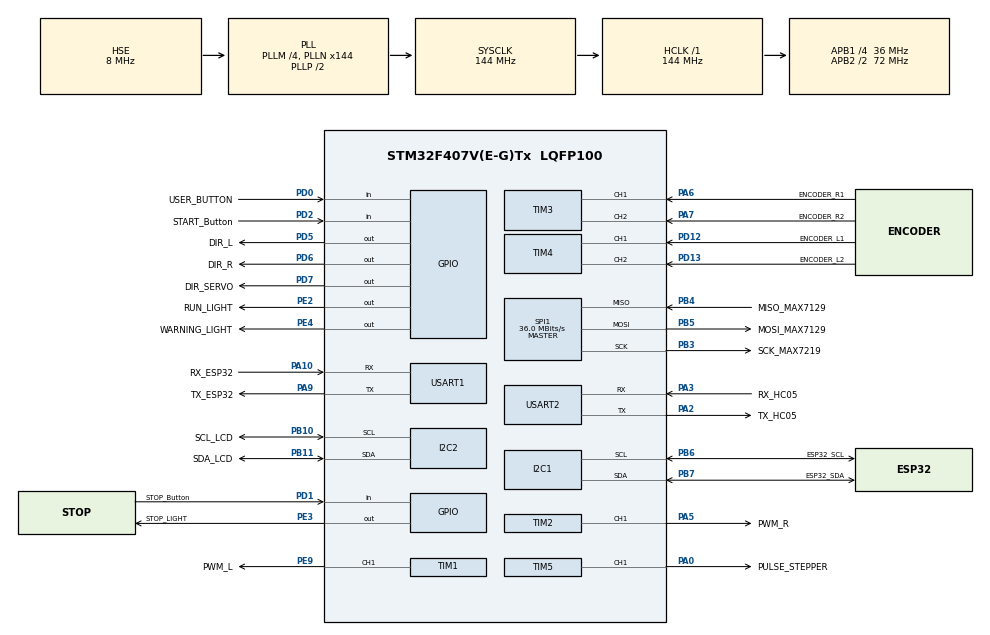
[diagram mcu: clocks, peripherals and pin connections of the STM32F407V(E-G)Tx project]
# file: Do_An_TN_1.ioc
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Mcu.Family=STM32F4
Mcu.Name=STM32F407V(E-G)Tx
Mcu.Package=LQFP100
NVIC.I2C1_EV_IRQn=true\:0\:0\:false\:false\:true\:true\:true\:true
NVIC.PriorityGroup=NVIC_PRIORITYGROUP_4
NVIC.TIM1_BRK_TIM9_IRQn=true\:0\:0\:false\:false\:true\:true\:true\:true
NVIC.TIM2_IRQn=true\:0\:0\:false\:false\:true\:true\:true\:true
NVIC.TIM3_IRQn=true\:0\:0\:false\:false\:true\:true\:true\:true
NVIC.TIM4_IRQn=true\:0\:0\:false\:false\:true\:true\:true\:true
NVIC.TIM5_IRQn=true\:0\:0\:false\:false\:true\:true\:true\:true
NVIC.TIM8_BRK_TIM12_IRQn=true\:0\:0\:false\:false\:true\:true\:true\:true
NVIC.TIM8_UP_TIM13_IRQn=true\:0\:0\:false\:false\:true\:true\:true\:true
PA0-WKUP.GPIO_Label=PULSE_STEPPER
PA0-WKUP.Signal=S_TIM5_CH1
PA10.GPIO_Label=RX_ESP32
PA10.Mode=Asynchronous
PA10.Signal=USART1_RX
PA13.Mode=Serial_Wire
PA13.Signal=SYS_JTMS-SWDIO
PA14.Mode=Serial_Wire
PA14.Signal=SYS_JTCK-SWCLK
PA2.GPIO_Label=TX_HC05
PA2.Mode=Asynchronous
PA2.Signal=USART2_TX
PA3.GPIO_Label=RX_HC05
PA3.Mode=Asynchronous
PA3.Signal=USART2_RX
PA5.GPIO_Label=PWM_R
PA5.Signal=S_TIM2_CH1_ETR
PA6.GPIO_Label=ENCODER_R1
PA6.Signal=S_TIM3_CH1
PA7.GPIO_Label=ENCODER_R2
PA7.Signal=S_TIM3_CH2
PA9.GPIO_Label=TX_ESP32
PA9.Mode=Asynchronous
PA9.Signal=USART1_TX
PB10.GPIO_Label=SCL_LCD
PB10.Mode=I2C
PB10.Signal=I2C2_SCL
PB11.GPIO_Label=SDA_LCD
PB11.Mode=I2C
PB11.Signal=I2C2_SDA
PB3.GPIO_Label=SCK_MAX7219
PB3.Mode=Full_Duplex_Master
PB3.Signal=SPI1_SCK
PB4.GPIO_Label=MISO_MAX7129
PB4.Mode=Full_Duplex_Master
PB4.Signal=SPI1_MISO
PB5.GPIO_Label=MOSI_MAX7129
PB5.Mode=Full_Duplex_Master
PB5.Signal=SPI1_MOSI
PB6.GPIO_Label=ESP32_SCL
PB6.Mode=I2C
PB6.Signal=I2C1_SCL
PB7.GPIO_Label=ESP32_SDA
PB7.Mode=I2C
PB7.Signal=I2C1_SDA
PD0.GPIO_Label=USER_BUTTON
PD0.Signal=GPIO_Input
PD1.GPIO_Label=STOP_Button
PD1.Signal=GPIO_Input
PD12.GPIO_Label=ENCODER_L1
PD12.Signal=S_TIM4_CH1
PD13.GPIO_Label=ENCODER_L2
PD13.Signal=S_TIM4_CH2
PD2.GPIO_Label=START_Button
PD2.Signal=GPIO_Input
PD5.GPIO_Label=DIR_L
PD5.Signal=GPIO_Output
PD6.GPIO_Label=DIR_R
PD6.Signal=GPIO_Output
PD7.GPIO_Label=DIR_SERVO
PD7.Signal=GPIO_Output
PE2.GPIO_Label=RUN_LIGHT
PE2.Signal=GPIO_Output
PE3.GPIO_Label=STOP_LIGHT
PE3.Signal=GPIO_Output
PE4.GPIO_Label=WARNING_LIGHT
PE4.Signal=GPIO_Output
PE9.GPIO_Label=PWM_L
PE9.Signal=S_TIM1_CH1
PH0-OSC_IN.Mode=HSE-External-Oscillator
PH0-OSC_IN.Signal=RCC_OSC_IN
PH1-OSC_OUT.Mode=HSE-External-Oscillator
PH1-OSC_OUT.Signal=RCC_OSC_OUT
ProjectManager.HeapSize=0x200
ProjectManager.StackSize=0x400
ProjectManager.TargetToolchain=STM32CubeIDE
RCC.48MHZClocksFreq_Value=72000000
RCC.AHBFreq_Value=144000000
RCC.APB1CLKDivider=RCC_HCLK_DIV4
RCC.APB1Freq_Value=36000000
RCC.APB1TimFreq_Value=72000000
RCC.APB2CLKDivider=RCC_HCLK_DIV2
RCC.APB2Freq_Value=72000000
RCC.APB2TimFreq_Value=144000000
RCC.CortexFreq_Value=144000000
RCC.HCLKFreq_Value=144000000
RCC.HSE_VALUE=8000000
RCC.HSI_VALUE=16000000
RCC.LSE_VALUE=32768
RCC.PLLM=4
RCC.PLLN=144
RCC.PLLSourceVirtual=RCC_PLLSOURCE_HSE
RCC.SYSCLKFreq_VALUE=144000000
RCC.SYSCLKSource=RCC_SYSCLKSOURCE_PLLCLK
RCC.VCOOutputFreq_Value=288000000
SH.S_TIM1_CH1.0=TIM1_CH1,PWM Generation1 CH1
SH.S_TIM2_CH1_ETR.0=TIM2_CH1,PWM Generation1 CH1
SH.S_TIM3_CH1.0=TIM3_CH1,Encoder_Interface
SH.S_TIM3_CH2.0=TIM3_CH2,Encoder_Interface
SH.S_TIM4_CH1.0=TIM4_CH1,Encoder_Interface
SH.S_TIM4_CH2.0=TIM4_CH2,Encoder_Interface
SH.S_TIM5_CH1.0=TIM5_CH1,PWM Generation1 CH1
SPI1.BaudRatePrescaler=SPI_BAUDRATEPRESCALER_2
SPI1.CalculateBaudRate=36.0 MBits/s
SPI1.Direction=SPI_DIRECTION_2LINES
SPI1.Mode=SPI_MODE_MASTER
SPI1.VirtualType=VM_MASTER
TIM1.Channel-PWM\ Generation1\ CH1=TIM_CHANNEL_1
TIM1.Period=999
TIM1.Prescaler=6
TIM2.Channel-PWM\ Generation1\ CH1=TIM_CHANNEL_1
TIM2.Period=999
TIM2.Prescaler=6
TIM3.EncoderMode=TIM_ENCODERMODE_TI12
TIM4.EncoderMode=TIM_ENCODERMODE_TI12
TIM5.Channel-PWM\ Generation1\ CH1=TIM_CHANNEL_1
TIM8.Period=499
TIM8.Prescaler=1439
USART1.VirtualMode=VM_ASYNC
USART2.VirtualMode=VM_ASYNC
VP_TIM8_VS_ClockSourceINT.Mode=Internal
VP_TIM9_VS_ClockSourceINT.Mode=Internal
board=custom

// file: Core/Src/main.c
/* USER CODE BEGIN Header */
/**
  ******************************************************************************
  * @file           : main.c
  * @brief          : Main program body
  ******************************************************************************
  * @attention
  *
  * Copyright (c) 2024 STMicroelectronics.
  * All rights reserved.
  *
  * This software is licensed under terms that can be found in the LICENSE file
  * in the root directory of this software component.
  * If no LICENSE file comes with this software, it is provided AS-IS.
  *
  ******************************************************************************
  */
/* USER CODE END Header */
#include "main.h"

/* USER CODE BEGIN Includes */
#include "PID_Control.h"
/* USER CODE END Includes */

/* USER CODE BEGIN PM */
struct Para_Motor Para_MR;
struct Para_Motor* pt_Para_MR = &Para_MR;
/* USER CODE END PM */

I2C_HandleTypeDef hi2c1;
I2C_HandleTypeDef hi2c2;

SPI_HandleTypeDef hspi1;

TIM_HandleTypeDef htim1;
TIM_HandleTypeDef htim2;
TIM_HandleTypeDef htim3;
TIM_HandleTypeDef htim4;
TIM_HandleTypeDef htim5;
TIM_HandleTypeDef htim8;
TIM_HandleTypeDef htim9;

UART_HandleTypeDef huart1;
UART_HandleTypeDef huart2;

void SystemClock_Config(void);
static void MX_GPIO_Init(void);
static void MX_TIM2_Init(void);
static void MX_TIM3_Init(void);
static void MX_TIM4_Init(void);
static void MX_I2C1_Init(void);
static void MX_I2C2_Init(void);
static void MX_SPI1_Init(void);
static void MX_TIM1_Init(void);
static void MX_TIM5_Init(void);
static void MX_USART1_UART_Init(void);
static void MX_USART2_UART_Init(void);
static void MX_TIM8_Init(void);
static void MX_TIM9_Init(void);

int main(void)
{

  /* MCU Configuration--------------------------------------------------------*/

  /* Reset of all peripherals, Initializes the Flash interface and the Systick. */
  HAL_Init();

  /* USER CODE BEGIN Init */
  pt_Para_MR->Kb = 900;
  pt_Para_MR->Kp = 0.0671641791;
  pt_Para_MR->Ki = 129.9951014957;
  pt_Para_MR->Kd = 0;

  pt_Para_MR->Ui_1 = 0;
  pt_Para_MR->Ud_1 = 0;

  pt_Para_MR->HIGH = 999;
  pt_Para_MR->LOW = 0;

  pt_Para_MR->SP_RPM = 20;
/* USER CODE END SysInit */
  /* USER CODE END Init */

  /* Configure the system clock */
  SystemClock_Config();

  /* Initialize all configured peripherals */
  MX_GPIO_Init();
  MX_TIM2_Init();
  MX_TIM3_Init();
  MX_TIM4_Init();
  MX_I2C1_Init();
  MX_I2C2_Init();
  MX_SPI1_Init();
  MX_TIM1_Init();
  MX_TIM5_Init();
  MX_USART1_UART_Init();
  MX_USART2_UART_Init();
  MX_TIM8_Init();
  MX_TIM9_Init();
  /* USER CODE BEGIN 2 */
  void HAL_TIM_PeriodElapsedCallback(TIM_HandleTypeDef *htim);

  HAL_TIM_Base_Start_IT(&htim8);

  HAL_TIM_Encoder_Start_IT(&htim3, TIM_CHANNEL_ALL);

  HAL_TIM_PWM_Start(&htim2, TIM_CHANNEL_1);

  /* USER CODE END 2 */

  /* Infinite loop */
  while (1)
  {

  }
}

void SystemClock_Config(void)
{
  RCC_OscInitTypeDef RCC_OscInitStruct = {0};
  RCC_ClkInitTypeDef RCC_ClkInitStruct = {0};

  /** Configure the main internal regulator output voltage
  */
  __HAL_RCC_PWR_CLK_ENABLE();
  __HAL_PWR_VOLTAGESCALING_CONFIG(PWR_REGULATOR_VOLTAGE_SCALE1);

  /** Initializes the RCC Oscillators according to the specified parameters
  * in the RCC_OscInitTypeDef structure.
  */
  RCC_OscInitStruct.OscillatorType = RCC_OSCILLATORTYPE_HSE;
  RCC_OscInitStruct.HSEState = RCC_HSE_ON;
  RCC_OscInitStruct.PLL.PLLState = RCC_PLL_ON;
  RCC_OscInitStruct.PLL.PLLSource = RCC_PLLSOURCE_HSE;
  RCC_OscInitStruct.PLL.PLLM = 4;
  RCC_OscInitStruct.PLL.PLLN = 144;
  RCC_OscInitStruct.PLL.PLLP = RCC_PLLP_DIV2;
  RCC_OscInitStruct.PLL.PLLQ = 4;
  if (HAL_RCC_OscConfig(&RCC_OscInitStruct) != HAL_OK)
  {
    Error_Handler();
  }

  /** Initializes the CPU, AHB and APB buses clocks
  */
  RCC_ClkInitStruct.ClockType = RCC_CLOCKTYPE_HCLK|RCC_CLOCKTYPE_SYSCLK
                              |RCC_CLOCKTYPE_PCLK1|RCC_CLOCKTYPE_PCLK2;
  RCC_ClkInitStruct.SYSCLKSource = RCC_SYSCLKSOURCE_PLLCLK;
  RCC_ClkInitStruct.AHBCLKDivider = RCC_SYSCLK_DIV1;
  RCC_ClkInitStruct.APB1CLKDivider = RCC_HCLK_DIV4;
  RCC_ClkInitStruct.APB2CLKDivider = RCC_HCLK_DIV2;

  if (HAL_RCC_ClockConfig(&RCC_ClkInitStruct, FLASH_LATENCY_4) != HAL_OK)
  {
    Error_Handler();
  }
}

static void MX_I2C1_Init(void)
{

  hi2c1.Instance = I2C1;
  hi2c1.Init.ClockSpeed = 100000;
  hi2c1.Init.DutyCycle = I2C_DUTYCYCLE_2;
  hi2c1.Init.OwnAddress1 = 0;
  hi2c1.Init.AddressingMode = I2C_ADDRESSINGMODE_7BIT;
  hi2c1.Init.DualAddressMode = I2C_DUALADDRESS_DISABLE;
  hi2c1.Init.OwnAddress2 = 0;
  hi2c1.Init.GeneralCallMode = I2C_GENERALCALL_DISABLE;
  hi2c1.Init.NoStretchMode = I2C_NOSTRETCH_DISABLE;
  if (HAL_I2C_Init(&hi2c1) != HAL_OK)
  {
    Error_Handler();
  }

}

static void MX_I2C2_Init(void)
{

  hi2c2.Instance = I2C2;
  hi2c2.Init.ClockSpeed = 100000;
  hi2c2.Init.DutyCycle = I2C_DUTYCYCLE_2;
  hi2c2.Init.OwnAddress1 = 0;
  hi2c2.Init.AddressingMode = I2C_ADDRESSINGMODE_7BIT;
  hi2c2.Init.DualAddressMode = I2C_DUALADDRESS_DISABLE;
  hi2c2.Init.OwnAddress2 = 0;
  hi2c2.Init.GeneralCallMode = I2C_GENERALCALL_DISABLE;
  hi2c2.Init.NoStretchMode = I2C_NOSTRETCH_DISABLE;
  if (HAL_I2C_Init(&hi2c2) != HAL_OK)
  {
    Error_Handler();
  }

}

static void MX_SPI1_Init(void)
{

  /* SPI1 parameter configuration*/
  hspi1.Instance = SPI1;
  hspi1.Init.Mode = SPI_MODE_MASTER;
  hspi1.Init.Direction = SPI_DIRECTION_2LINES;
  hspi1.Init.DataSize = SPI_DATASIZE_8BIT;
  hspi1.Init.CLKPolarity = SPI_POLARITY_LOW;
  hspi1.Init.CLKPhase = SPI_PHASE_1EDGE;
  hspi1.Init.NSS = SPI_NSS_SOFT;
  hspi1.Init.BaudRatePrescaler = SPI_BAUDRATEPRESCALER_2;
  hspi1.Init.FirstBit = SPI_FIRSTBIT_MSB;
  hspi1.Init.TIMode = SPI_TIMODE_DISABLE;
  hspi1.Init.CRCCalculation = SPI_CRCCALCULATION_DISABLE;
  hspi1.Init.CRCPolynomial = 10;
  if (HAL_SPI_Init(&hspi1) != HAL_OK)
  {
    Error_Handler();
  }

}

static void MX_TIM1_Init(void)
{

  TIM_MasterConfigTypeDef sMasterConfig = {0};
  TIM_OC_InitTypeDef sConfigOC = {0};
  TIM_BreakDeadTimeConfigTypeDef sBreakDeadTimeConfig = {0};

  htim1.Instance = TIM1;
  htim1.Init.Prescaler = 6;
  htim1.Init.CounterMode = TIM_COUNTERMODE_UP;
  htim1.Init.Period = 999;
  htim1.Init.ClockDivision = TIM_CLOCKDIVISION_DIV1;
  htim1.Init.RepetitionCounter = 0;
  htim1.Init.AutoReloadPreload = TIM_AUTORELOAD_PRELOAD_DISABLE;
  if (HAL_TIM_PWM_Init(&htim1) != HAL_OK)
  {
    Error_Handler();
  }
  sMasterConfig.MasterOutputTrigger = TIM_TRGO_RESET;
  sMasterConfig.MasterSlaveMode = TIM_MASTERSLAVEMODE_DISABLE;
  if (HAL_TIMEx_MasterConfigSynchronization(&htim1, &sMasterConfig) != HAL_OK)
  {
    Error_Handler();
  }
  sConfigOC.OCMode = TIM_OCMODE_PWM1;
  sConfigOC.Pulse = 0;
  sConfigOC.OCPolarity = TIM_OCPOLARITY_HIGH;
  sConfigOC.OCNPolarity = TIM_OCNPOLARITY_HIGH;
  sConfigOC.OCFastMode = TIM_OCFAST_DISABLE;
  sConfigOC.OCIdleState = TIM_OCIDLESTATE_RESET;
  sConfigOC.OCNIdleState = TIM_OCNIDLESTATE_RESET;
  if (HAL_TIM_PWM_ConfigChannel(&htim1, &sConfigOC, TIM_CHANNEL_1) != HAL_OK)
  {
    Error_Handler();
  }
  sBreakDeadTimeConfig.OffStateRunMode = TIM_OSSR_DISABLE;
  sBreakDeadTimeConfig.OffStateIDLEMode = TIM_OSSI_DISABLE;
  sBreakDeadTimeConfig.LockLevel = TIM_LOCKLEVEL_OFF;
  sBreakDeadTimeConfig.DeadTime = 0;
  sBreakDeadTimeConfig.BreakState = TIM_BREAK_DISABLE;
  sBreakDeadTimeConfig.BreakPolarity = TIM_BREAKPOLARITY_HIGH;
  sBreakDeadTimeConfig.AutomaticOutput = TIM_AUTOMATICOUTPUT_DISABLE;
  if (HAL_TIMEx_ConfigBreakDeadTime(&htim1, &sBreakDeadTimeConfig) != HAL_OK)
  {
    Error_Handler();
  }
  HAL_TIM_MspPostInit(&htim1);

}

static void MX_TIM2_Init(void)
{

  TIM_MasterConfigTypeDef sMasterConfig = {0};
  TIM_OC_InitTypeDef sConfigOC = {0};

  htim2.Instance = TIM2;
  htim2.Init.Prescaler = 6;
  htim2.Init.CounterMode = TIM_COUNTERMODE_UP;
  htim2.Init.Period = 999;
  htim2.Init.ClockDivision = TIM_CLOCKDIVISION_DIV1;
  htim2.Init.AutoReloadPreload = TIM_AUTORELOAD_PRELOAD_DISABLE;
  if (HAL_TIM_PWM_Init(&htim2) != HAL_OK)
  {
    Error_Handler();
  }
  sMasterConfig.MasterOutputTrigger = TIM_TRGO_RESET;
  sMasterConfig.MasterSlaveMode = TIM_MASTERSLAVEMODE_DISABLE;
  if (HAL_TIMEx_MasterConfigSynchronization(&htim2, &sMasterConfig) != HAL_OK)
  {
    Error_Handler();
  }
  sConfigOC.OCMode = TIM_OCMODE_PWM1;
  sConfigOC.Pulse = 0;
  sConfigOC.OCPolarity = TIM_OCPOLARITY_HIGH;
  sConfigOC.OCFastMode = TIM_OCFAST_DISABLE;
  if (HAL_TIM_PWM_ConfigChannel(&htim2, &sConfigOC, TIM_CHANNEL_1) != HAL_OK)
  {
    Error_Handler();
  }
  HAL_TIM_MspPostInit(&htim2);

}

static void MX_TIM3_Init(void)
{

  TIM_Encoder_InitTypeDef sConfig = {0};
  TIM_MasterConfigTypeDef sMasterConfig = {0};

  htim3.Instance = TIM3;
  htim3.Init.Prescaler = 0;
  htim3.Init.CounterMode = TIM_COUNTERMODE_UP;
  htim3.Init.Period = 65535;
  htim3.Init.ClockDivision = TIM_CLOCKDIVISION_DIV1;
  htim3.Init.AutoReloadPreload = TIM_AUTORELOAD_PRELOAD_DISABLE;
  sConfig.EncoderMode = TIM_ENCODERMODE_TI12;
  sConfig.IC1Polarity = TIM_ICPOLARITY_RISING;
  sConfig.IC1Selection = TIM_ICSELECTION_DIRECTTI;
  sConfig.IC1Prescaler = TIM_ICPSC_DIV1;
  sConfig.IC1Filter = 0;
  sConfig.IC2Polarity = TIM_ICPOLARITY_RISING;
  sConfig.IC2Selection = TIM_ICSELECTION_DIRECTTI;
  sConfig.IC2Prescaler = TIM_ICPSC_DIV1;
  sConfig.IC2Filter = 0;
  if (HAL_TIM_Encoder_Init(&htim3, &sConfig) != HAL_OK)
  {
    Error_Handler();
  }
  sMasterConfig.MasterOutputTrigger = TIM_TRGO_RESET;
  sMasterConfig.MasterSlaveMode = TIM_MASTERSLAVEMODE_DISABLE;
  if (HAL_TIMEx_MasterConfigSynchronization(&htim3, &sMasterConfig) != HAL_OK)
  {
    Error_Handler();
  }

}

static void MX_TIM4_Init(void)
{

  TIM_Encoder_InitTypeDef sConfig = {0};
  TIM_MasterConfigTypeDef sMasterConfig = {0};

  htim4.Instance = TIM4;
  htim4.Init.Prescaler = 0;
  htim4.Init.CounterMode = TIM_COUNTERMODE_UP;
  htim4.Init.Period = 65535;
  htim4.Init.ClockDivision = TIM_CLOCKDIVISION_DIV1;
  htim4.Init.AutoReloadPreload = TIM_AUTORELOAD_PRELOAD_DISABLE;
  sConfig.EncoderMode = TIM_ENCODERMODE_TI12;
  sConfig.IC1Polarity = TIM_ICPOLARITY_RISING;
  sConfig.IC1Selection = TIM_ICSELECTION_DIRECTTI;
  sConfig.IC1Prescaler = TIM_ICPSC_DIV1;
  sConfig.IC1Filter = 0;
  sConfig.IC2Polarity = TIM_ICPOLARITY_RISING;
  sConfig.IC2Selection = TIM_ICSELECTION_DIRECTTI;
  sConfig.IC2Prescaler = TIM_ICPSC_DIV1;
  sConfig.IC2Filter = 0;
  if (HAL_TIM_Encoder_Init(&htim4, &sConfig) != HAL_OK)
  {
    Error_Handler();
  }
  sMasterConfig.MasterOutputTrigger = TIM_TRGO_RESET;
  sMasterConfig.MasterSlaveMode = TIM_MASTERSLAVEMODE_DISABLE;
  if (HAL_TIMEx_MasterConfigSynchronization(&htim4, &sMasterConfig) != HAL_OK)
  {
    Error_Handler();
  }

}

static void MX_TIM5_Init(void)
{

  TIM_MasterConfigTypeDef sMasterConfig = {0};
  TIM_OC_InitTypeDef sConfigOC = {0};

  htim5.Instance = TIM5;
  htim5.Init.Prescaler = 0;
  htim5.Init.CounterMode = TIM_COUNTERMODE_UP;
  htim5.Init.Period = 4294967295;
  htim5.Init.ClockDivision = TIM_CLOCKDIVISION_DIV1;
  htim5.Init.AutoReloadPreload = TIM_AUTORELOAD_PRELOAD_DISABLE;
  if (HAL_TIM_PWM_Init(&htim5) != HAL_OK)
  {
    Error_Handler();
  }
  sMasterConfig.MasterOutputTrigger = TIM_TRGO_RESET;
  sMasterConfig.MasterSlaveMode = TIM_MASTERSLAVEMODE_DISABLE;
  if (HAL_TIMEx_MasterConfigSynchronization(&htim5, &sMasterConfig) != HAL_OK)
  {
    Error_Handler();
  }
  sConfigOC.OCMode = TIM_OCMODE_PWM1;
  sConfigOC.Pulse = 0;
  sConfigOC.OCPolarity = TIM_OCPOLARITY_HIGH;
  sConfigOC.OCFastMode = TIM_OCFAST_DISABLE;
  if (HAL_TIM_PWM_ConfigChannel(&htim5, &sConfigOC, TIM_CHANNEL_1) != HAL_OK)
  {
    Error_Handler();
  }
  HAL_TIM_MspPostInit(&htim5);

}

static void MX_TIM8_Init(void)
{

  TIM_ClockConfigTypeDef sClockSourceConfig = {0};
  TIM_MasterConfigTypeDef sMasterConfig = {0};

  htim8.Instance = TIM8;
  htim8.Init.Prescaler = 1439;
  htim8.Init.CounterMode = TIM_COUNTERMODE_UP;
  htim8.Init.Period = 499;
  htim8.Init.ClockDivision = TIM_CLOCKDIVISION_DIV1;
  htim8.Init.RepetitionCounter = 0;
  htim8.Init.AutoReloadPreload = TIM_AUTORELOAD_PRELOAD_DISABLE;
  if (HAL_TIM_Base_Init(&htim8) != HAL_OK)
  {
    Error_Handler();
  }
  sClockSourceConfig.ClockSource = TIM_CLOCKSOURCE_INTERNAL;
  if (HAL_TIM_ConfigClockSource(&htim8, &sClockSourceConfig) != HAL_OK)
  {
    Error_Handler();
  }
  sMasterConfig.MasterOutputTrigger = TIM_TRGO_RESET;
  sMasterConfig.MasterSlaveMode = TIM_MASTERSLAVEMODE_DISABLE;
  if (HAL_TIMEx_MasterConfigSynchronization(&htim8, &sMasterConfig) != HAL_OK)
  {
    Error_Handler();
  }

}

static void MX_TIM9_Init(void)
{

  TIM_ClockConfigTypeDef sClockSourceConfig = {0};

  htim9.Instance = TIM9;
  htim9.Init.Prescaler = 0;
  htim9.Init.CounterMode = TIM_COUNTERMODE_UP;
  htim9.Init.Period = 65535;
  htim9.Init.ClockDivision = TIM_CLOCKDIVISION_DIV1;
  htim9.Init.AutoReloadPreload = TIM_AUTORELOAD_PRELOAD_DISABLE;
  if (HAL_TIM_Base_Init(&htim9) != HAL_OK)
  {
    Error_Handler();
  }
  sClockSourceConfig.ClockSource = TIM_CLOCKSOURCE_INTERNAL;
  if (HAL_TIM_ConfigClockSource(&htim9, &sClockSourceConfig) != HAL_OK)
  {
    Error_Handler();
  }

}

static void MX_USART1_UART_Init(void)
{

  huart1.Instance = USART1;
  huart1.Init.BaudRate = 115200;
  huart1.Init.WordLength = UART_WORDLENGTH_8B;
  huart1.Init.StopBits = UART_STOPBITS_1;
  huart1.Init.Parity = UART_PARITY_NONE;
  huart1.Init.Mode = UART_MODE_TX_RX;
  huart1.Init.HwFlowCtl = UART_HWCONTROL_NONE;
  huart1.Init.OverSampling = UART_OVERSAMPLING_16;
  if (HAL_UART_Init(&huart1) != HAL_OK)
  {
    Error_Handler();
  }

}

static void MX_USART2_UART_Init(void)
{

  huart2.Instance = USART2;
  huart2.Init.BaudRate = 115200;
  huart2.Init.WordLength = UART_WORDLENGTH_8B;
  huart2.Init.StopBits = UART_STOPBITS_1;
  huart2.Init.Parity = UART_PARITY_NONE;
  huart2.Init.Mode = UART_MODE_TX_RX;
  huart2.Init.HwFlowCtl = UART_HWCONTROL_NONE;
  huart2.Init.OverSampling = UART_OVERSAMPLING_16;
  if (HAL_UART_Init(&huart2) != HAL_OK)
  {
    Error_Handler();
  }

}

static void MX_GPIO_Init(void)
{
  GPIO_InitTypeDef GPIO_InitStruct = {0};

  /* GPIO Ports Clock Enable */
  __HAL_RCC_GPIOE_CLK_ENABLE();
  __HAL_RCC_GPIOH_CLK_ENABLE();
  __HAL_RCC_GPIOA_CLK_ENABLE();
  __HAL_RCC_GPIOB_CLK_ENABLE();
  __HAL_RCC_GPIOD_CLK_ENABLE();

  /*Configure GPIO pin Output Level */
  HAL_GPIO_WritePin(GPIOE, RUN_LIGHT_Pin|STOP_LIGHT_Pin|WARNING_LIGHT_Pin, GPIO_PIN_RESET);

  /*Configure GPIO pin Output Level */
  HAL_GPIO_WritePin(GPIOD, DIR_L_Pin|DIR_R_Pin|DIR_SERVO_Pin, GPIO_PIN_RESET);

  /*Configure GPIO pins : RUN_LIGHT_Pin STOP_LIGHT_Pin WARNING_LIGHT_Pin */
  GPIO_InitStruct.Pin = RUN_LIGHT_Pin|STOP_LIGHT_Pin|WARNING_LIGHT_Pin;
  GPIO_InitStruct.Mode = GPIO_MODE_OUTPUT_PP;
  GPIO_InitStruct.Pull = GPIO_NOPULL;
  GPIO_InitStruct.Speed = GPIO_SPEED_FREQ_LOW;
  HAL_GPIO_Init(GPIOE, &GPIO_InitStruct);

  /*Configure GPIO pins : USER_BUTTON_Pin STOP_Button_Pin START_Button_Pin */
  GPIO_InitStruct.Pin = USER_BUTTON_Pin|STOP_Button_Pin|START_Button_Pin;
  GPIO_InitStruct.Mode = GPIO_MODE_INPUT;
  GPIO_InitStruct.Pull = GPIO_NOPULL;
  HAL_GPIO_Init(GPIOD, &GPIO_InitStruct);

  /*Configure GPIO pins : DIR_L_Pin DIR_R_Pin DIR_SERVO_Pin */
  GPIO_InitStruct.Pin = DIR_L_Pin|DIR_R_Pin|DIR_SERVO_Pin;
  GPIO_InitStruct.Mode = GPIO_MODE_OUTPUT_PP;
  GPIO_InitStruct.Pull = GPIO_NOPULL;
  GPIO_InitStruct.Speed = GPIO_SPEED_FREQ_LOW;
  HAL_GPIO_Init(GPIOD, &GPIO_InitStruct);

}

/* USER CODE BEGIN 4 */
void HAL_TIM_PeriodElapsedCallback(TIM_HandleTypeDef *htim)
{
	if (htim -> Instance == TIM8){
		//pt_Para_MR->Encoder = __HAL_TIM_GET_COUNTER(&htim2);
		//read_encoder(&htim2, pt_Para_MR);
		RPM_Calc(&htim3, pt_Para_MR);
		PID_control(&htim2, pt_Para_MR, TIM_CHANNEL_1);
	}
}
/* USER CODE END 4 */

void Error_Handler(void)
{
  __disable_irq();
  while (1)
  {
  }
}
